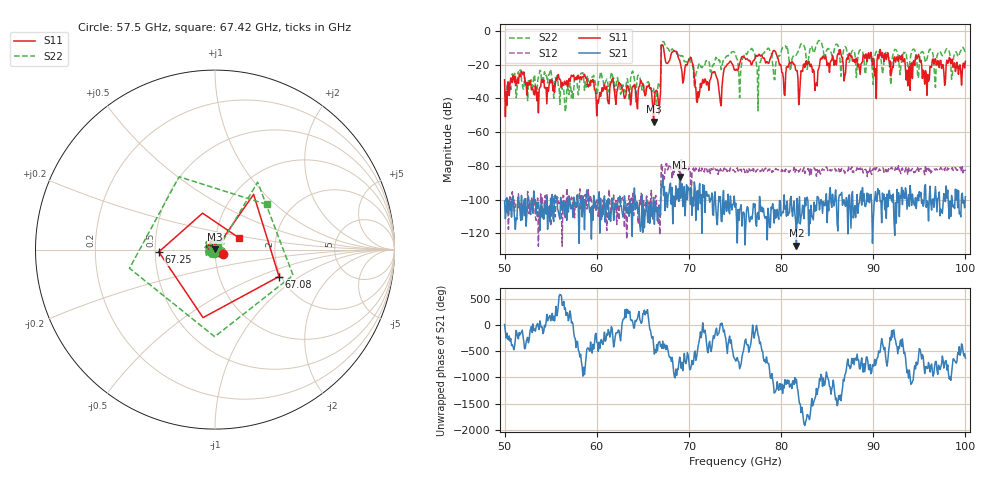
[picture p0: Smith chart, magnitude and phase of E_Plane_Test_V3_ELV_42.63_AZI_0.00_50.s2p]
! 11/26/2026 4:33:04 PM
! C:\ANRITSUVNA\TEMP\TEMP.S2P
! CHANNEL.1
! TR.MEASUREMENT
! RAW.DATA
# HZ S RI R 50.0
! FREQ.HZ  S11RE  S11IM  S21RE  S21IM  S12RE  S12IM  S22RE  S22IM
!; PortSelection: Port_12
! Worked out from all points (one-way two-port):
!   601 points, 50 GHz to 100 GHz, reference 50 ohm
!   highest |S21| = -86.62 dB at 69 GHz (marker M1); lowest = -127.4 dB at 81.67 GHz (marker M2)
!   lowest |S11| = -53.8 dB at 66.17 GHz (marker M3), VSWR 1.00, Z = 50.1 + j0.149 ohm
!   |S11| at or under -10 dB: start of sweep to 67 GHz; 67.25 GHz to end of sweep
!   |S22| runs from -48.1 to -5.6 dB; largest |S21 - S12| = 0.00016
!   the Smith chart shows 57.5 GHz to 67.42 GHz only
!   S11 on the Smith chart (normalised r, x): 57.5 GHz: 1.09, -0.05; 67.08 GHz: 1.95, -0.69; 67.25 GHz: 0.52, -0.01; 67.42 GHz: 1.29, +0.18
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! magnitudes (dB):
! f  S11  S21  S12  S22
! 50 GHz  -29.0  -100.9  -101.3  -35.4
! 57.5 GHz  -26.1  -98.6  -99.7  -34.6
! 58.42 GHz  -27.1  -110.3  -101.6  -24.8
! 60.17 GHz  -42.8  -100.6  -110.0  -30.3
! 66.17 GHz  -53.8  -98.8  -105.9  -34.0
! 66.67 GHz  -41.5  -104.9  -114.4  -31.6
! 67.08 GHz  -8.2  -92.7  -78.8  -6.8
! 67.25 GHz  -10.1  -97.6  -85.2  -6.2
! 67.42 GHz  -16.6  -106.6  -81.7  -8.3
! 69 GHz  -17.4  -86.6  -79.5  -14.3
! 70.25 GHz  -15.9  -92.6  -99.7  -18.7
! 70.92 GHz  -42.3  -94.8  -82.7  -23.2
! 75 GHz  -23.3  -104.6  -83.7  -13.0
! 79.25 GHz  -11.5  -114.0  -83.7  -28.8
! 80.25 GHz  -27.8  -107.8  -82.0  -9.4
! 81.67 GHz  -23.5  -127.4  -82.6  -14.1
! 83.42 GHz  -24.5  -110.8  -81.4  -10.8
! 91.67 GHz  -16.7  -96.5  -81.7  -15.2
! 93.75 GHz  -32.5  -101.4  -85.3  -21.2
! 94.83 GHz  -15.1  -97.3  -81.1  -27.9
! 95.83 GHz  -38.1  -100.8  -81.5  -16.5
! 100 GHz  -18.0  -98.3  -83.0  -12.5
